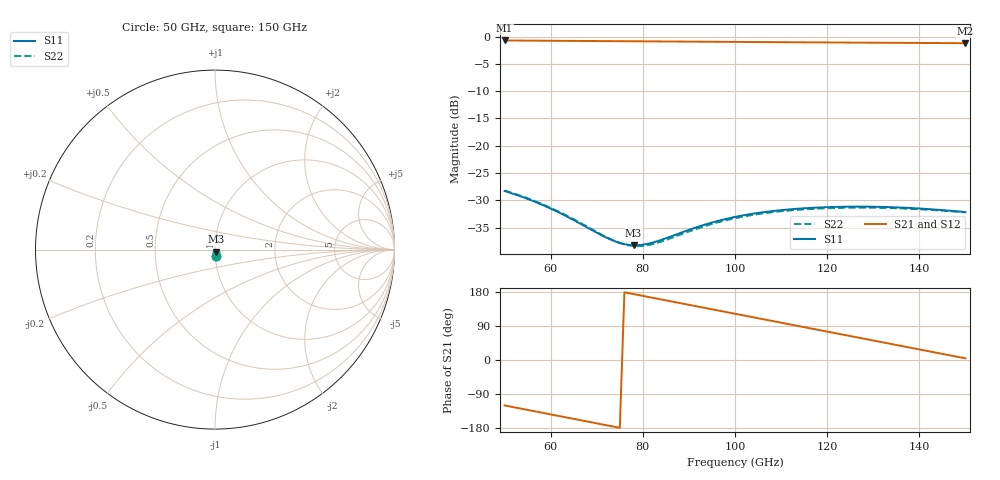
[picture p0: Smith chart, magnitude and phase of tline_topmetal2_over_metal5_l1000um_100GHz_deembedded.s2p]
! Created with skrf 2.2.0 (http://scikit-rf.org).
# GHz S DB R 50.0
! Port[1] = P1
! Port[2] = P2
!freq dBS11 angS11 dBS21 angS21 dBS12 angS12 dBS22 angS22
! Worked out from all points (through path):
!   101 points, 50 GHz to 150 GHz, reference 50 ohm
!   highest |S21| = -0.71 dB at 50 GHz (marker M1); lowest = -1.2 dB at 150 GHz (marker M2)
!   group delay of S21, straight-line fit = 6.55 ps
!   lowest |S11| = -38.2 dB at 78 GHz (marker M3), VSWR 1.02, Z = 50.5 - j1.15 ohm
!   |S11| at or under -10 dB: start of sweep to end of sweep
!   |S22| runs from -38.4 to -28.2 dB; largest |S21 - S12| = 1e-13
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50  -28.28 -80.2  -0.71 -119.9  -0.71 -119.9  -28.19 -80.7
54  -29.42 -86.1  -0.73 -129.4  -0.73 -129.4  -29.31 -86.7
59  -31.12 -91.8  -0.76 -141.2  -0.76 -141.2  -30.99 -92.7
63  -32.73 -94.2  -0.78 -150.7  -0.78 -150.7  -32.59 -95.5
67  -34.53 -93.7  -0.80 -160.1  -0.80 -160.1  -34.38 -95.5
74  -37.51 -81.4  -0.84 -176.6  -0.84 -176.6  -37.48 -84.2
78  -38.21 -67.9  -0.86 173.9  -0.86 173.9  -38.35 -70.9
81  -37.96 -58.0  -0.87 166.8  -0.87 166.8  -38.21 -60.5
84  -37.23 -50.5  -0.89 159.8  -0.89 159.8  -37.54 -52.4
92  -34.82 -43.4  -0.93 140.9  -0.93 140.9  -35.11 -44.2
100  -33.03 -46.4  -0.97 122.0  -0.97 122.0  -33.27 -46.7
105  -32.29 -50.2  -1.00 110.3  -1.00 110.3  -32.51 -50.2
109  -31.87 -53.5  -1.02 100.8  -1.02 100.8  -32.07 -53.4
113  -31.56 -56.9  -1.04 91.4  -1.04 91.4  -31.76 -56.7
117  -31.35 -60.3  -1.06 82.0  -1.06 82.0  -31.54 -60.0
121  -31.21 -63.7  -1.08 72.6  -1.08 72.6  -31.40 -63.2
125  -31.15 -67.0  -1.10 63.2  -1.10 63.2  -31.33 -66.4
129  -31.15 -70.2  -1.11 53.8  -1.11 53.8  -31.33 -69.4
134  -31.24 -74.0  -1.14 42.0  -1.14 42.0  -31.41 -72.9
142  -31.59 -79.3  -1.17 23.2  -1.17 23.2  -31.71 -77.7
146  -31.84 -81.5  -1.19 13.8  -1.19 13.8  -31.94 -79.6
150  -32.14 -83.3  -1.21 4.4  -1.21 4.4  -32.19 -81.1
